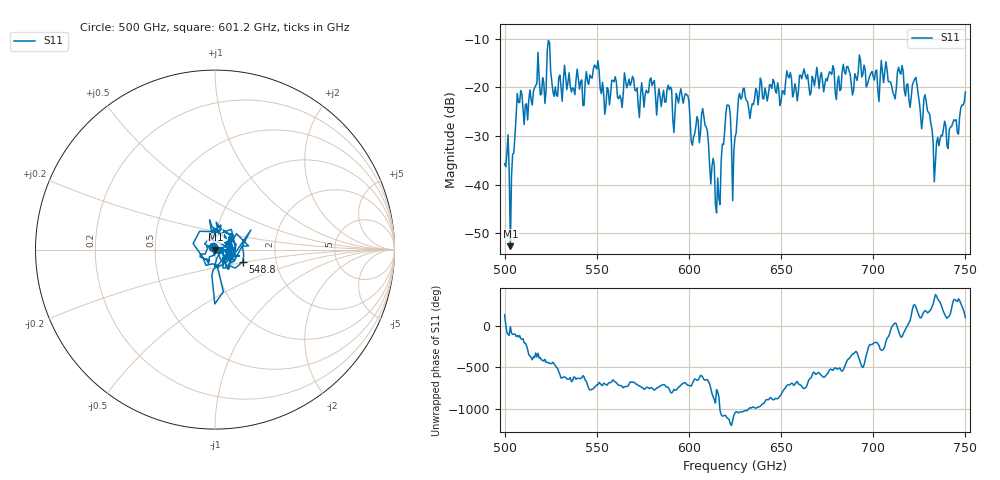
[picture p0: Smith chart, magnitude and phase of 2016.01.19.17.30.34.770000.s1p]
!Created with skrf (http://scikit-rf.org).
# GHz S RI R 50.0
!freq ReS11 ImS11
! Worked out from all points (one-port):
!   401 points, 500 GHz to 750 GHz, reference 50 ohm
!   lowest |S11| = -52.7 dB at 503.1 GHz (marker M1), VSWR 1.00, Z = 50.2 - j0.041 ohm
!   |S11| at or under -10 dB: start of sweep to end of sweep
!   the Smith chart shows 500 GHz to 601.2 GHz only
!   S11 on the Smith chart (normalised r, x): 500 GHz: 0.98, +0.02; 548.8 GHz: 1.35, -0.19; 601.2 GHz: 1.06, -0.01
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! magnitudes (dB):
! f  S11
! 500 GHz  -35.7
! 503.1 GHz  -52.7
! 508.1 GHz  -23.2
! 521.2 GHz  -19.0
! 524.4 GHz  -10.8
! 527.5 GHz  -19.9
! 531.2 GHz  -22.9
! 541.9 GHz  -18.5
! 548.8 GHz  -15.4
! 562.5 GHz  -21.7
! 568.8 GHz  -19.0
! 593.8 GHz  -22.2
! 598.8 GHz  -21.5
! 601.2 GHz  -31.1
! 608.1 GHz  -26.1
! 615.6 GHz  -38.6
! 620.6 GHz  -23.7
! 625 GHz  -30.3
! 628.8 GHz  -22.1
! 656.2 GHz  -22.0
! 687.5 GHz  -17.4
! 705.6 GHz  -19.1
! 711.2 GHz  -21.6
! 715 GHz  -17.3
! 718.8 GHz  -19.3
! 728.8 GHz  -23.0
! 734.4 GHz  -31.3
! 750 GHz  -21.0
